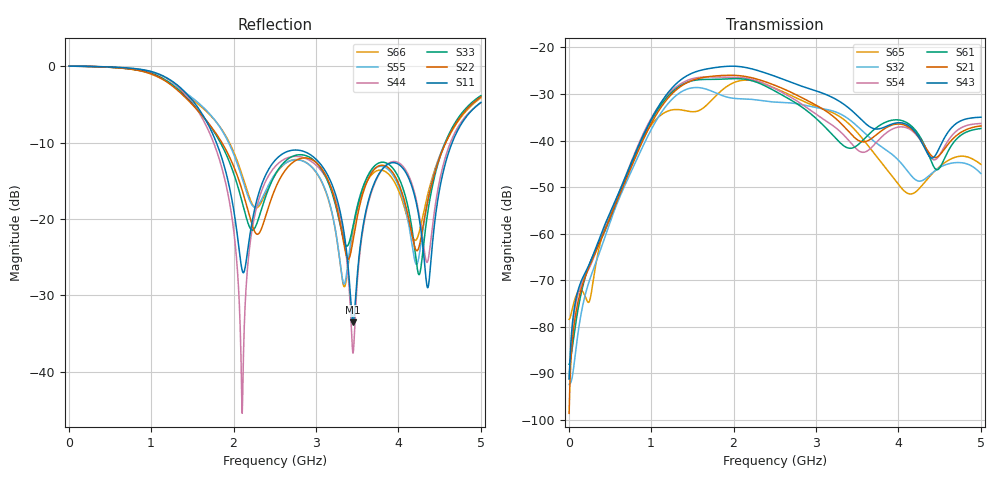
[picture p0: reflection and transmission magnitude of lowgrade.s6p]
! TOUCHSTONE file generated by CST MICROWAVE STUDIO
! Date and time: Wed Apr 29 10:44:24 2026
! Project name: UWB_patch_small+voxel_ARRAY _tumor (1).cst
! Parameters = {Lg_partial=9.8; R=26.6; SL=63; SW=63; extx=4; h=1.6; scale=0.7; wf=3; xl=31.5; yc1=4.9; yc2=4.9; yl=45.5}
! Header version: 2015
! Port assignment regex: !\s*Touchstone port\s*([0-9]+)\s*=\s*CST MWS port\s*([0-9]+)\s*\(\"(.*)\"\)(\s*mode\s*([0-9]+))?.*
! Touchstone port assignment:
! Touchstone port 1 = CST MWS port 1 ("")
! Touchstone port 2 = CST MWS port 2 ("")
! Touchstone port 3 = CST MWS port 3 ("")
! Touchstone port 4 = CST MWS port 4 ("")
! Touchstone port 5 = CST MWS port 5 ("")
! Touchstone port 6 = CST MWS port 6 ("")
# GHz S MA R 50
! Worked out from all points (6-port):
!   1000 points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, 5 MHz to 5 GHz, reference 50 ohm
!   strongest paths, dB at 5 MHz, 1.255 GHz, 2.505 GHz, 3.755 GHz, 5 GHz:
!     S43: -91.2, -28.7, -26.2, -37.5, -35.0
!     S21: -98.5, -29.9, -28.2, -38.4, -36.9
!     S61: -88.0, -29.6, -29.4, -37.0, -37.4
!     S54: -91.1, -29.2, -28.9, -40.0, -36.3
!     S32: -92.3, -31.1, -31.8, -40.8, -47.1
!     S65: -78.4, -33.4, -28.8, -43.9, -45.1
!   lowest |S11| = -33.5 dB at 3.45 GHz (marker M1), VSWR 1.04, Z = 49.3 - j1.96 ohm
!   |S11| at or under -10 dB: 1.791 GHz to 4.652 GHz (2.861 GHz wide, 88.8 % of centre)
